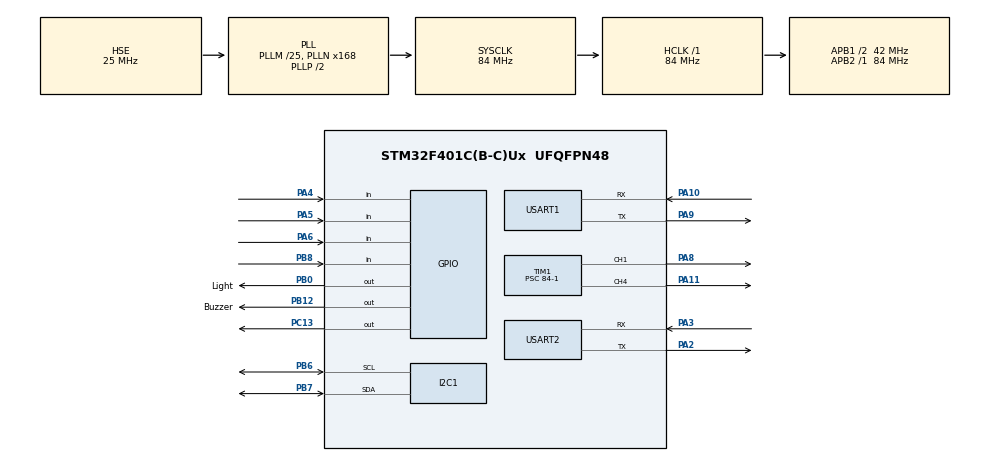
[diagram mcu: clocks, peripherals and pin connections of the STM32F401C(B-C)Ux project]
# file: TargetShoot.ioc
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Dma.Request0=USART1_RX
Dma.Request1=USART1_TX
Dma.Request2=USART2_RX
Dma.Request3=USART2_TX
Dma.USART1_RX.0.Direction=DMA_PERIPH_TO_MEMORY
Dma.USART1_RX.0.FIFOMode=DMA_FIFOMODE_DISABLE
Dma.USART1_RX.0.Instance=DMA2_Stream2
Dma.USART1_RX.0.MemDataAlignment=DMA_MDATAALIGN_BYTE
Dma.USART1_RX.0.MemInc=DMA_MINC_ENABLE
Dma.USART1_RX.0.Mode=DMA_NORMAL
Dma.USART1_RX.0.PeriphDataAlignment=DMA_PDATAALIGN_BYTE
Dma.USART1_RX.0.PeriphInc=DMA_PINC_DISABLE
Dma.USART1_RX.0.Priority=DMA_PRIORITY_LOW
Dma.USART1_TX.1.Direction=DMA_MEMORY_TO_PERIPH
Dma.USART1_TX.1.FIFOMode=DMA_FIFOMODE_DISABLE
Dma.USART1_TX.1.Instance=DMA2_Stream7
Dma.USART1_TX.1.MemDataAlignment=DMA_MDATAALIGN_BYTE
Dma.USART1_TX.1.MemInc=DMA_MINC_ENABLE
Dma.USART1_TX.1.Mode=DMA_NORMAL
Dma.USART1_TX.1.PeriphDataAlignment=DMA_PDATAALIGN_BYTE
Dma.USART1_TX.1.PeriphInc=DMA_PINC_DISABLE
Dma.USART1_TX.1.Priority=DMA_PRIORITY_LOW
Dma.USART2_RX.2.Direction=DMA_PERIPH_TO_MEMORY
Dma.USART2_RX.2.FIFOMode=DMA_FIFOMODE_DISABLE
Dma.USART2_RX.2.Instance=DMA1_Stream5
Dma.USART2_RX.2.MemDataAlignment=DMA_MDATAALIGN_BYTE
Dma.USART2_RX.2.MemInc=DMA_MINC_ENABLE
Dma.USART2_RX.2.Mode=DMA_NORMAL
Dma.USART2_RX.2.PeriphDataAlignment=DMA_PDATAALIGN_BYTE
Dma.USART2_RX.2.PeriphInc=DMA_PINC_DISABLE
Dma.USART2_RX.2.Priority=DMA_PRIORITY_LOW
Dma.USART2_TX.3.Direction=DMA_MEMORY_TO_PERIPH
Dma.USART2_TX.3.FIFOMode=DMA_FIFOMODE_DISABLE
Dma.USART2_TX.3.Instance=DMA1_Stream6
Dma.USART2_TX.3.MemDataAlignment=DMA_MDATAALIGN_BYTE
Dma.USART2_TX.3.MemInc=DMA_MINC_ENABLE
Dma.USART2_TX.3.Mode=DMA_NORMAL
Dma.USART2_TX.3.PeriphDataAlignment=DMA_PDATAALIGN_BYTE
Dma.USART2_TX.3.PeriphInc=DMA_PINC_DISABLE
Dma.USART2_TX.3.Priority=DMA_PRIORITY_LOW
Mcu.Family=STM32F4
Mcu.Name=STM32F401C(B-C)Ux
Mcu.Package=UFQFPN48
NVIC.DMA1_Stream5_IRQn=true\:0\:0\:false\:false\:true\:false\:true\:true
NVIC.DMA1_Stream6_IRQn=true\:0\:0\:false\:false\:true\:false\:true\:true
NVIC.DMA2_Stream2_IRQn=true\:0\:0\:false\:false\:true\:false\:true\:true
NVIC.DMA2_Stream7_IRQn=true\:0\:0\:false\:false\:true\:false\:true\:true
NVIC.PriorityGroup=NVIC_PRIORITYGROUP_4
NVIC.TIM1_BRK_TIM9_IRQn=true\:0\:0\:false\:false\:true\:true\:true\:true
NVIC.USART1_IRQn=true\:0\:0\:false\:false\:true\:true\:true\:true
NVIC.USART2_IRQn=true\:0\:0\:false\:false\:true\:true\:true\:true
PA10.Mode=Asynchronous
PA10.Signal=USART1_RX
PA11.Signal=S_TIM1_CH4
PA13.Mode=Serial_Wire
PA13.Signal=SYS_JTMS-SWDIO
PA14.Mode=Serial_Wire
PA14.Signal=SYS_JTCK-SWCLK
PA2.Mode=Asynchronous
PA2.Signal=USART2_TX
PA3.Mode=Asynchronous
PA3.Signal=USART2_RX
PA4.GPIO_PuPd=GPIO_PULLUP
PA4.Signal=GPIO_Input
PA5.GPIO_PuPd=GPIO_PULLUP
PA5.Signal=GPIO_Input
PA6.GPIO_PuPd=GPIO_PULLUP
PA6.Signal=GPIO_Input
PA8.Signal=S_TIM1_CH1
PA9.Mode=Asynchronous
PA9.Signal=USART1_TX
PB0.GPIO_Label=Light
PB0.Signal=GPIO_Output
PB12.GPIO_Label=Buzzer
PB12.Signal=GPIO_Output
PB6.Mode=I2C
PB6.Signal=I2C1_SCL
PB7.Mode=I2C
PB7.Signal=I2C1_SDA
PB8.GPIO_PuPd=GPIO_PULLUP
PB8.Signal=GPIO_Input
PC13-ANTI_TAMP.Signal=GPIO_Output
PH0\ -\ OSC_IN.Mode=HSE-External-Oscillator
PH0\ -\ OSC_IN.Signal=RCC_OSC_IN
PH1\ -\ OSC_OUT.Mode=HSE-External-Oscillator
PH1\ -\ OSC_OUT.Signal=RCC_OSC_OUT
ProjectManager.HeapSize=0x200
ProjectManager.StackSize=0x400
ProjectManager.TargetToolchain=CMake
RCC.48MHZClocksFreq_Value=42000000
RCC.AHBFreq_Value=84000000
RCC.APB1CLKDivider=RCC_HCLK_DIV2
RCC.APB1Freq_Value=42000000
RCC.APB1TimFreq_Value=84000000
RCC.APB2Freq_Value=84000000
RCC.APB2TimFreq_Value=84000000
RCC.CortexFreq_Value=84000000
RCC.HCLKFreq_Value=84000000
RCC.HSE_VALUE=25000000
RCC.HSI_VALUE=16000000
RCC.LSE_VALUE=32768
RCC.PLLM=25
RCC.PLLN=168
RCC.PLLSourceVirtual=RCC_PLLSOURCE_HSE
RCC.SYSCLKFreq_VALUE=84000000
RCC.SYSCLKSource=RCC_SYSCLKSOURCE_PLLCLK
RCC.VCOOutputFreq_Value=168000000
SH.S_TIM1_CH1.0=TIM1_CH1,PWM Generation1 CH1
SH.S_TIM1_CH4.0=TIM1_CH4,PWM Generation4 CH4
TIM1.AutoReloadPreload=TIM_AUTORELOAD_PRELOAD_ENABLE
TIM1.Channel-PWM\ Generation1\ CH1=TIM_CHANNEL_1
TIM1.Channel-PWM\ Generation4\ CH4=TIM_CHANNEL_4
TIM1.Period=20000-1
TIM1.Prescaler=84-1
TIM1.Pulse-PWM\ Generation1\ CH1=1500
TIM1.Pulse-PWM\ Generation4\ CH4=1500
TIM9.Period=1000-1
TIM9.Prescaler=84-1
USART1.VirtualMode=VM_ASYNC
USART2.VirtualMode=VM_ASYNC
VP_TIM1_VS_ClockSourceINT.Mode=Internal
VP_TIM9_VS_ClockSourceINT.Mode=Internal
board=custom

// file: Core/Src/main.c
/* USER CODE BEGIN Header */
/**
  ******************************************************************************
  * @file           : main.c
  * @brief          : Main program body
  ******************************************************************************
  * @attention
  *
  * Copyright (c) 2026 STMicroelectronics.
  * All rights reserved.
  *
  * This software is licensed under terms that can be found in the LICENSE file
  * in the root directory of this software component.
  * If no LICENSE file comes with this software, it is provided AS-IS.
  *
  ******************************************************************************
  */
/* USER CODE END Header */
#include "main.h"
#include "dma.h"
#include "i2c.h"
#include "tim.h"
#include "usart.h"
#include "gpio.h"

/* USER CODE BEGIN Includes */
#include "function.h"
#include "key.h"
#include "OLED.h"
#include "OLED_Data.h"
#include "PID.h"
#include "serial.h"
#include "servo.h"
#include "ServoPID.h"
#include "task.h"
#include "alarm.h"
/* USER CODE END Includes */

/* USER CODE BEGIN PTD */
Alarm_Controller_t MyAlarm;
/* USER CODE END PTD */

/* USER CODE BEGIN PD */
uint8_t Vision_RxBuffer[50];//接收树莓派数据的数组
uint8_t Vision_RxFlag = 0;//接收中断标志位，接收到置1

// 🌟 新增：蓝牙全局变量
uint8_t BT_RxFlag = 0;
uint8_t BT_RxBuffer[50] = {0};
/* USER CODE END PD */

/* USER CODE BEGIN PM */
void HAL_TIM_PeriodElapsedCallback(TIM_HandleTypeDef *htim) {
  if (htim == &htim9) {
    Key_Tick();

  }

}

/* USER CODE END PM */

void SystemClock_Config(void);

int main(void)
{

  /* MCU Configuration--------------------------------------------------------*/

  /* Reset of all peripherals, Initializes the Flash interface and the Systick. */
  HAL_Init();

  /* Configure the system clock */
  SystemClock_Config();

  /* Initialize all configured peripherals */
  MX_GPIO_Init();
  MX_DMA_Init();
  MX_I2C1_Init();
  MX_TIM1_Init();
  MX_USART1_UART_Init();
  MX_USART2_UART_Init();
  MX_TIM9_Init();
  /* USER CODE BEGIN 2 */
  HAL_TIM_Base_Start_IT(&htim9);
  HAL_TIM_PWM_Start(&htim1, TIM_CHANNEL_1);
  HAL_TIM_PWM_Start(&htim1, TIM_CHANNEL_4);
  HAL_UART_Receive_DMA(&huart1, (uint8_t *)Vision_RxBuffer, 50);
  __HAL_UART_ENABLE_IT(&huart1, UART_IT_IDLE);
  __HAL_DMA_DISABLE_IT(huart1.hdmarx, DMA_IT_HT);
  HAL_UART_Receive_DMA(&huart2, (uint8_t *)BT_RxBuffer, 50);
  __HAL_UART_ENABLE_IT(&huart2, UART_IT_IDLE);
  __HAL_DMA_DISABLE_IT(huart2.hdmarx, DMA_IT_HT);
  OLED_Init();
  Servo_Init();
  Alarm_Init(&MyAlarm);
  Task_Init();
  /* USER CODE END 2 */

  /* Infinite loop */
  /* USER CODE BEGIN WHILE */
  while (1) {
    uint8_t Key_Num = Key_GetNum();

    // ==========================================
    // 🟢 按键 1 (PA4)：纯粹的模式切换
    // ==========================================
    if (Key_Num == 1) {
      System_Mode++;
      if (System_Mode > 5) System_Mode = 1;
      Serial_Printf(&huart1, "MODE:%d\n", System_Mode); // 通知上位机
      Alarm_Start_Beep(&MyAlarm, 1);
    }

    // ==========================================
    // 🟡 按键 2 (PA5)：复位归中 + 唤醒启动 (Start)
    // ==========================================
    else if (Key_Num == 2) {
      // 🌟 每次按下，状态翻转 (0变1，1变0)
      System_Run = !System_Run;

      if (System_Run == 0) {
        // 【待机模式】：洗脑 + 回中 + 保持力量！(绝不松手)
        PID_Init(&PID_Yaw);
        PID_Init(&PID_Pitch);
        Servo_SetYaw(0.0f);
        Servo_SetPitch(0.0f);
        HAL_TIM_PWM_Start(&htim1, TIM_CHANNEL_1);
        HAL_TIM_PWM_Start(&htim1, TIM_CHANNEL_4);

        Alarm_Start_Beep(&MyAlarm, 2); // 滴滴两声，提示进入“归中锁死状态”
      } else {
        // 【追踪模式】：释放猛兽！
        Alarm_Start_Beep(&MyAlarm, 1); // 滴一声长音，提示“开始追踪！”
      }
    }

    // ==========================================
    // 🔴 按键 3 (PB6)：紧急断电 (Stop)
    // ==========================================
    else if (Key_Num == 3) {
      // 🌟 1. 必须先断电！防止舵机收到归零信号乱扭！
      HAL_TIM_PWM_Stop(&htim1, TIM_CHANNEL_1);
      HAL_TIM_PWM_Stop(&htim1, TIM_CHANNEL_4);

      // 2. 断电后再慢慢清空大脑记忆
      PID_Init(&PID_Yaw);
      PID_Init(&PID_Pitch);

      Alarm_Start_Beep(&MyAlarm, 3);
      Alarm_Start_Blink(&MyAlarm, 1);
    }
    // 核心：一刻不停地检查串口缓冲区是否有新数据 (非阻塞)
    Vision_Data_Proceed();
    // 核心：进入调度中心
    Task_Scheduler();
  }
  /* USER CODE END 3 */
}

void SystemClock_Config(void)
{
  RCC_OscInitTypeDef RCC_OscInitStruct = {0};
  RCC_ClkInitTypeDef RCC_ClkInitStruct = {0};

  /** Configure the main internal regulator output voltage
  */
  __HAL_RCC_PWR_CLK_ENABLE();
  __HAL_PWR_VOLTAGESCALING_CONFIG(PWR_REGULATOR_VOLTAGE_SCALE2);

  /** Initializes the RCC Oscillators according to the specified parameters
  * in the RCC_OscInitTypeDef structure.
  */
  RCC_OscInitStruct.OscillatorType = RCC_OSCILLATORTYPE_HSE;
  RCC_OscInitStruct.HSEState = RCC_HSE_ON;
  RCC_OscInitStruct.PLL.PLLState = RCC_PLL_ON;
  RCC_OscInitStruct.PLL.PLLSource = RCC_PLLSOURCE_HSE;
  RCC_OscInitStruct.PLL.PLLM = 25;
  RCC_OscInitStruct.PLL.PLLN = 168;
  RCC_OscInitStruct.PLL.PLLP = RCC_PLLP_DIV2;
  RCC_OscInitStruct.PLL.PLLQ = 4;
  if (HAL_RCC_OscConfig(&RCC_OscInitStruct) != HAL_OK)
  {
    Error_Handler();
  }

  /** Initializes the CPU, AHB and APB buses clocks
  */
  RCC_ClkInitStruct.ClockType = RCC_CLOCKTYPE_HCLK|RCC_CLOCKTYPE_SYSCLK
                              |RCC_CLOCKTYPE_PCLK1|RCC_CLOCKTYPE_PCLK2;
  RCC_ClkInitStruct.SYSCLKSource = RCC_SYSCLKSOURCE_PLLCLK;
  RCC_ClkInitStruct.AHBCLKDivider = RCC_SYSCLK_DIV1;
  RCC_ClkInitStruct.APB1CLKDivider = RCC_HCLK_DIV2;
  RCC_ClkInitStruct.APB2CLKDivider = RCC_HCLK_DIV1;

  if (HAL_RCC_ClockConfig(&RCC_ClkInitStruct, FLASH_LATENCY_2) != HAL_OK)
  {
    Error_Handler();
  }
}

void Error_Handler(void)
{
  __disable_irq();
  while (1)
  {
  }
}
